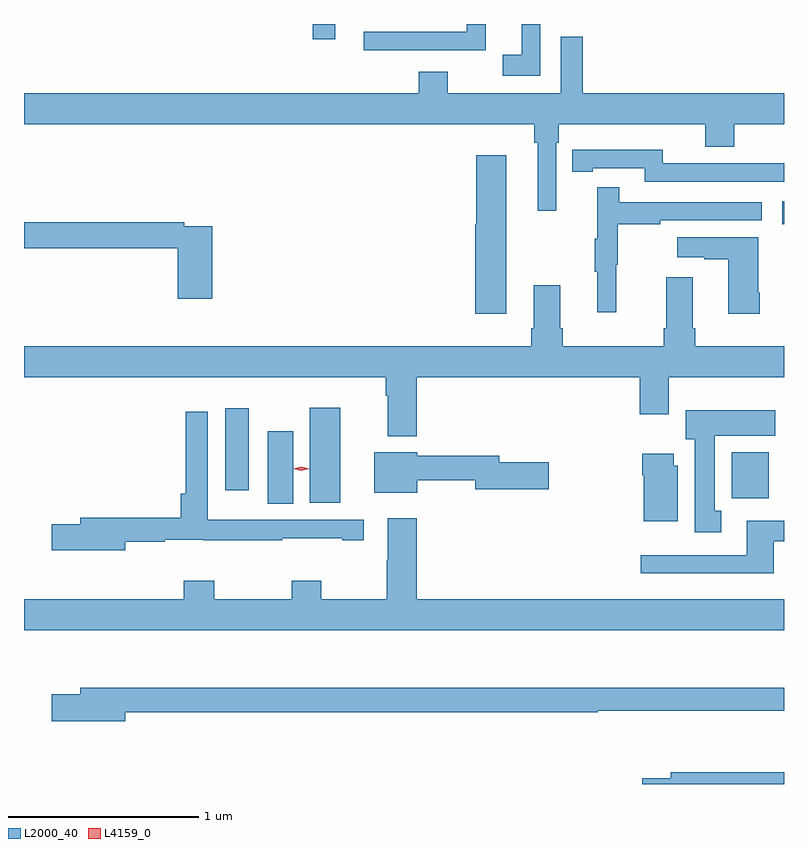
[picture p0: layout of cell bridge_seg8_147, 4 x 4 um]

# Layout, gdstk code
import gdstk
lib = gdstk.Library(unit=1e-6, precision=1e-09)
def R(c, l, rs):  # rectangles x0, y0, x1, y1
    for r in rs: c.add(gdstk.rectangle(r[:2], r[2:], *l))
def P(c, l, *ps):  # polygons
    for p in ps: c.add(gdstk.Polygon(p, *l))
L2000_40 = (2000, 40)
L4159_0 = (4159, 0)

bridge_seg8_147 = lib.new_cell('bridge_seg8_147')
R(bridge_seg8_147, L2000_40, [(521.006,1127.824,521.14,1128.205), (521.228,1127.829,521.389,1128.328), (523.448,1127.852,523.645,1128.094), (520.784,1127.895,520.906,1128.325), (523.716,1129.293,523.724,1129.414), (521.245,1130.268,521.362,1130.348)])
P(bridge_seg8_147, L2000_40, [(522.441,1130.348),(522.344,1130.348),(522.344,1130.185),(522.243,1130.185),(522.243,1130.076),(522.441,1130.076)],
  [(522.155,1130.348),(522.055,1130.348),(522.055,1130.307),(521.511,1130.307),(521.511,1130.211),(522.155,1130.211)],
  [(522.525,1129.724),(522.539,1129.724),(522.539,1129.82),(523.31,1129.82),(523.31,1129.703),(523.463,1129.703),(523.463,1129.82),(523.724,1129.82),(523.724,1129.984),(522.665,1129.984),(522.665,1130.28),(522.549,1130.28),(522.549,1129.984),(521.953,1129.984),(521.953,1130.098),(521.801,1130.098),(521.801,1129.984),(519.724,1129.984),(519.724,1129.82),(522.409,1129.82),(522.409,1129.724),(522.428,1129.724),(522.428,1129.365),(522.525,1129.365)],
  [(523.724,1129.616),(523.546,1129.616),(523.546,1129.614),(523.086,1129.614),(523.086,1129.687),(522.718,1129.687),(522.718,1129.686),(522.61,1129.686),(522.61,1129.57),(522.718,1129.57),(522.718,1129.59),(522.99,1129.59),(522.99,1129.518),(523.724,1129.518)],
  [(522.262,1129.657),(522.104,1129.657),(522.104,1129.293),(522.098,1129.293),(522.098,1128.822),(522.262,1128.822)],
  [(522.842,1129.08),(522.85,1129.08),(522.85,1129.294),(523.073,1129.294),(523.073,1129.314),(523.606,1129.314),(523.606,1129.41),(522.857,1129.41),(522.857,1129.489),(522.74,1129.489),(522.74,1129.217),(522.729,1129.217),(522.729,1129.043),(522.74,1129.043),(522.74,1128.831),(522.842,1128.831)],
  [(520.715,1129.284),(520.568,1129.284),(520.568,1129.304),(519.724,1129.304),(519.724,1129.168),(520.532,1129.168),(520.532,1128.903),(520.715,1128.903)],
  [(523.596,1128.934),(523.588,1128.934),(523.588,1129.225),(523.161,1129.225),(523.161,1129.121),(523.304,1129.121),(523.304,1129.111),(523.43,1129.111),(523.43,1128.822),(523.596,1128.822)],
  [(521.792,1128.488),(522.965,1128.488),(522.965,1128.294),(523.117,1128.294),(523.117,1128.488),(523.724,1128.488),(523.724,1128.652),(523.256,1128.652),(523.256,1128.748),(523.243,1128.748),(523.243,1129.015),(523.103,1129.015),(523.103,1128.748),(523.091,1128.748),(523.091,1128.652),(522.56,1128.652),(522.56,1128.748),(522.547,1128.748),(522.547,1128.973),(522.407,1128.973),(522.407,1128.748),(522.395,1128.748),(522.395,1128.652),(519.724,1128.652),(519.724,1128.488),(521.627,1128.488),(521.627,1128.392),(521.639,1128.392),(521.639,1128.179),(521.792,1128.179)],
  [(523.393,1127.786),(523.36,1127.786),(523.36,1128.182),(523.678,1128.182),(523.678,1128.316),(523.208,1128.316),(523.208,1128.162),(523.253,1128.162),(523.253,1127.673),(523.393,1127.673)],
  [(520.258,1127.622),(520.466,1127.622),(520.466,1127.633),(520.668,1127.633),(520.668,1127.631),(521.084,1127.631),(521.084,1127.641),(521.399,1127.641),(521.399,1127.631),(521.512,1127.631),(521.512,1127.739),(520.902,1127.739),(520.902,1127.74),(520.692,1127.74),(520.692,1128.307),(520.576,1128.307),(520.576,1127.875),(520.55,1127.875),(520.55,1127.75),(520.019,1127.75),(520.019,1127.714),(519.87,1127.714),(519.87,1127.579),(520.258,1127.579)],
  [(521.794,1127.947),(522.098,1127.947),(522.098,1127.9),(522.487,1127.9),(522.487,1128.042),(522.226,1128.042),(522.226,1128.076),(521.794,1128.076),(521.794,1128.094),(521.567,1128.094),(521.567,1127.882),(521.794,1127.882)],
  [(523.165,1128.024),(523.144,1128.024),(523.144,1128.085),(522.979,1128.085),(522.979,1127.972),(522.986,1127.972),(522.986,1127.732),(523.165,1127.732)],
  [(523.724,1127.32),(521.792,1127.32),(521.792,1127.746),(521.639,1127.746),(521.639,1127.525),(521.632,1127.525),(521.632,1127.32),(521.289,1127.32),(521.289,1127.419),(521.134,1127.419),(521.134,1127.32),(520.725,1127.32),(520.725,1127.419),(520.565,1127.419),(520.565,1127.32),(519.724,1127.32),(519.724,1127.156),(523.724,1127.156)],
  [(523.669,1127.625),(523.724,1127.625),(523.724,1127.734),(523.529,1127.734),(523.529,1127.553),(522.969,1127.553),(522.969,1127.456),(523.669,1127.456)],
  [(520.258,1126.726),(522.743,1126.726),(522.743,1126.734),(523.724,1126.734),(523.724,1126.855),(520.019,1126.855),(520.019,1126.821),(519.87,1126.821),(519.87,1126.679),(520.258,1126.679)],
  [(523.724,1126.411),(523.127,1126.411),(523.127,1126.377),(522.978,1126.377),(522.978,1126.348),(523.724,1126.348)])
P(bridge_seg8_147, L4159_0, [(521.183,1127.997),(521.142,1128.007),(521.142,1128.007),(521.142,1128.007),(521.183,1128.017),(521.224,1128.008),(521.224,1128.008),(521.224,1128.007)])

lib.write_gds('bridge_seg8_147.gds')
